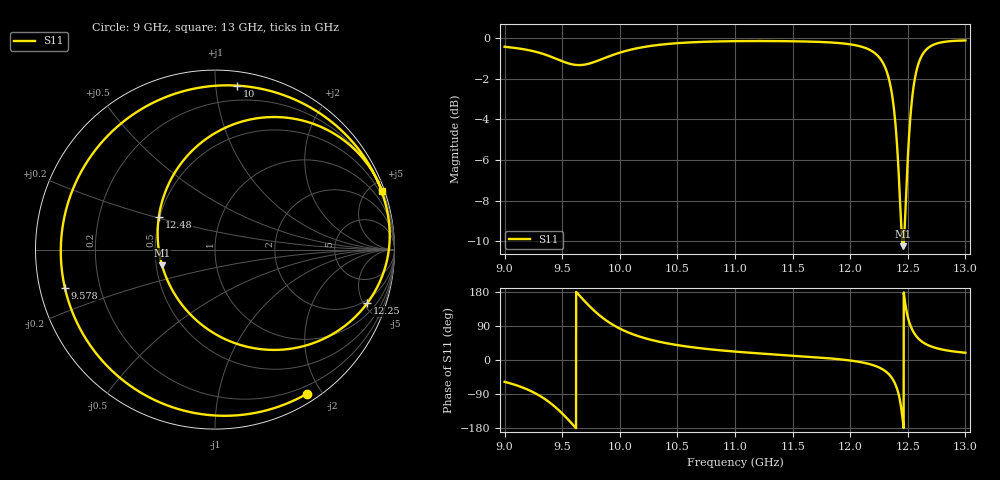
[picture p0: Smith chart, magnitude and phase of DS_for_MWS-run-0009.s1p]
! TOUCHSTONE file generated by CST DESIGN STUDIO
! Date and time: Tue Feb  4 17:47:25 2025
! Project name: C:\Work\MatlabApps\UnitCellOptimizationMatlab\CST\unitcell.cst
! Tree item: Tasks\Sweep1\SPara1\S-Parameters
! Header version: 2024
! Port assignment regex: !\s*Touchstone port\s*([0-9]+)\s*=\s*(CST MWS port|CST DES external port|CST DES block port)\s*(.+)\s* \(\"(.*)\"\)(\s*mode\s*([0-9]+))?.*
! Touchstone port assignment:
! Touchstone port 1 = CST DES external port 1 ("")
# GHz S MA R 50
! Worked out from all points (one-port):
!   4001 points, 9 GHz to 13 GHz, reference 50 ohm
!   lowest |S11| = -10.2 dB at 12.46 GHz (marker M1), VSWR 1.89, Z = 26.9 - j5.2 ohm
!   |S11| at or under -10 dB: 12.45133 GHz to 12.46555 GHz (14.21 MHz wide, 0.114 % of centre)
!   S11 on the Smith chart (normalised r, x): 9 GHz: 0.10, -1.82; 9.578 GHz: 0.07, -0.12; 10 GHz: 0.09, +1.14; 12.25 GHz: 1.72, -5.35; 12.48 GHz: 0.49, +0.21; 13 GHz: 0.23, +5.91
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9  0.9526 -57.6
9.164  0.9393 -73.5
9.315  0.9183 -96.3
9.412  0.8981 -117.1
9.5  0.8775 -141.1
9.578  0.8631 -165.8
9.674  0.8593 162.0
9.79  0.8761 126.7
9.885  0.8973 103.7
10  0.9213 82.8
10.003  0.9218 82.4
10.219  0.9523 57.5
10.5  0.9721 39.3
11  0.9832 22.2
11.5  0.9826 11.5
12  0.9657 -1.4
12.248  0.8997 -19.3
12.331  0.8038 -36.2
12.392  0.6185 -64.1
12.425  0.4416 -96.1
12.458  0.3077 -163.5
12.477  0.3615 150.1
12.5  0.5057 113.4
12.555  0.7762 71.1
12.602  0.8805 53.7
12.659  0.9365 41.7
12.784  0.9756 28.5
13  0.9871 19.2
